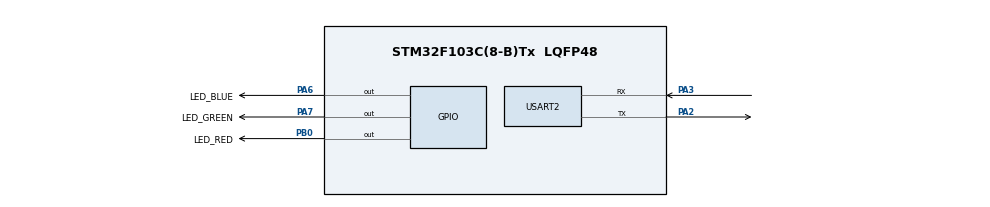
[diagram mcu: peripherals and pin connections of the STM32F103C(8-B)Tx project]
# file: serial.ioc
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Dma.Request0=USART2_TX
Dma.Request1=USART2_RX
Dma.USART2_RX.1.Direction=DMA_PERIPH_TO_MEMORY
Dma.USART2_RX.1.Instance=DMA1_Channel6
Dma.USART2_RX.1.MemDataAlignment=DMA_MDATAALIGN_BYTE
Dma.USART2_RX.1.MemInc=DMA_MINC_ENABLE
Dma.USART2_RX.1.Mode=DMA_NORMAL
Dma.USART2_RX.1.PeriphDataAlignment=DMA_PDATAALIGN_BYTE
Dma.USART2_RX.1.PeriphInc=DMA_PINC_DISABLE
Dma.USART2_RX.1.Priority=DMA_PRIORITY_LOW
Dma.USART2_TX.0.Direction=DMA_MEMORY_TO_PERIPH
Dma.USART2_TX.0.Instance=DMA1_Channel7
Dma.USART2_TX.0.MemDataAlignment=DMA_MDATAALIGN_BYTE
Dma.USART2_TX.0.MemInc=DMA_MINC_ENABLE
Dma.USART2_TX.0.Mode=DMA_NORMAL
Dma.USART2_TX.0.PeriphDataAlignment=DMA_PDATAALIGN_BYTE
Dma.USART2_TX.0.PeriphInc=DMA_PINC_DISABLE
Dma.USART2_TX.0.Priority=DMA_PRIORITY_LOW
Mcu.Family=STM32F1
Mcu.Name=STM32F103C(8-B)Tx
Mcu.Package=LQFP48
NVIC.DMA1_Channel6_IRQn=true\:0\:0\:false\:false\:true\:false\:true\:true
NVIC.DMA1_Channel7_IRQn=true\:0\:0\:false\:false\:true\:false\:true\:true
NVIC.PriorityGroup=NVIC_PRIORITYGROUP_4
NVIC.USART2_IRQn=true\:0\:0\:false\:false\:true\:true\:true\:true
PA13.Mode=Serial_Wire
PA13.Signal=SYS_JTMS-SWDIO
PA14.Mode=Serial_Wire
PA14.Signal=SYS_JTCK-SWCLK
PA2.Mode=Asynchronous
PA2.Signal=USART2_TX
PA3.Mode=Asynchronous
PA3.Signal=USART2_RX
PA6.GPIO_Label=LED_BLUE
PA6.Signal=GPIO_Output
PA7.GPIO_Label=LED_GREEN
PA7.Signal=GPIO_Output
PB0.GPIO_Label=LED_RED
PB0.Signal=GPIO_Output
ProjectManager.HeapSize=0x200
ProjectManager.StackSize=0x400
ProjectManager.TargetToolchain=STM32CubeIDE
RCC.APB1Freq_Value=8000000
RCC.APB2Freq_Value=8000000
USART2.VirtualMode=VM_ASYNC
board=custom

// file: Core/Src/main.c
/* USER CODE BEGIN Header */
/**
  ******************************************************************************
  * @file           : main.c
  * @brief          : Main program body
  ******************************************************************************
  * @attention
  *
  * Copyright (c) 2025 STMicroelectronics.
  * All rights reserved.
  *
  * This software is licensed under terms that can be found in the LICENSE file
  * in the root directory of this software component.
  * If no LICENSE file comes with this software, it is provided AS-IS.
  *
  ******************************************************************************
  */
/* USER CODE END Header */
#include "main.h"

/* USER CODE BEGIN Includes */
#include<string.h>
/* USER CODE END Includes */

UART_HandleTypeDef huart2;
DMA_HandleTypeDef hdma_usart2_tx;
DMA_HandleTypeDef hdma_usart2_rx;

/* USER CODE BEGIN PV */
uint8_t receiveData[2];
/* USER CODE END PV */

void SystemClock_Config(void);
static void MX_GPIO_Init(void);
static void MX_DMA_Init(void);
static void MX_USART2_UART_Init(void);

/* USER CODE BEGIN 0 */
void HAL_UART_TxCpltCallback(UART_HandleTypeDef *huart){
	HAL_UART_Transmit_DMA(&huart2, receiveData, 2);

  GPIO_PinState state = GPIO_PIN_SET ;
  if (receiveData[1]=='0'){
  state =GPIO_PIN_RESET;
  }
  if (receiveData[0]=='R'){
  HAL_GPIO_WritePin(LED_RED_GPIO_Port,LED_RED_Pin,state);
  }else if(receiveData[0]=='G'){
	 HAL_GPIO_WritePin(LED_GREEN_GPIO_Port,LED_GREEN_Pin,state);
  } else if(receiveData[0]=='B'){
   HAL_GPIO_WritePin(LED_BLUE_GPIO_Port,LED_BLUE_Pin,state);
  }
  HAL_UART_Receive_IT(&huart2, receiveData, 2);
}
/* USER CODE END 0 */

int main(void)
{

  /* MCU Configuration--------------------------------------------------------*/

  /* Reset of all peripherals, Initializes the Flash interface and the Systick. */
  HAL_Init();

  /* Configure the system clock */
  SystemClock_Config();

  /* Initialize all configured peripherals */
  MX_GPIO_Init();
  MX_DMA_Init();
  MX_USART2_UART_Init();
  /* USER CODE BEGIN 2 */

 HAL_UART_Receive_DMA(&huart2, receiveData, 2);
  /* USER CODE END 2 */

  /* Infinite loop */
  /* USER CODE BEGIN WHILE */
  while (1)
  {
//	    HAL_UART_Receive(&huart2, receiveData, 2, HAL_MAX_DELAY);

		//HAL_UART_Transmit(&huart2,receiveData, 2, 100);

//	  HAL_UART_Transmit(&huart2,message, strlen(message), 100);
//			  HAL_Delay(1000);
    /* USER CODE END WHILE */

  }
}

void SystemClock_Config(void)
{
  RCC_OscInitTypeDef RCC_OscInitStruct = {0};
  RCC_ClkInitTypeDef RCC_ClkInitStruct = {0};

  /** Initializes the RCC Oscillators according to the specified parameters
  * in the RCC_OscInitTypeDef structure.
  */
  RCC_OscInitStruct.OscillatorType = RCC_OSCILLATORTYPE_HSI;
  RCC_OscInitStruct.HSIState = RCC_HSI_ON;
  RCC_OscInitStruct.HSICalibrationValue = RCC_HSICALIBRATION_DEFAULT;
  RCC_OscInitStruct.PLL.PLLState = RCC_PLL_NONE;
  if (HAL_RCC_OscConfig(&RCC_OscInitStruct) != HAL_OK)
  {
    Error_Handler();
  }

  /** Initializes the CPU, AHB and APB buses clocks
  */
  RCC_ClkInitStruct.ClockType = RCC_CLOCKTYPE_HCLK|RCC_CLOCKTYPE_SYSCLK
                              |RCC_CLOCKTYPE_PCLK1|RCC_CLOCKTYPE_PCLK2;
  RCC_ClkInitStruct.SYSCLKSource = RCC_SYSCLKSOURCE_HSI;
  RCC_ClkInitStruct.AHBCLKDivider = RCC_SYSCLK_DIV1;
  RCC_ClkInitStruct.APB1CLKDivider = RCC_HCLK_DIV1;
  RCC_ClkInitStruct.APB2CLKDivider = RCC_HCLK_DIV1;

  if (HAL_RCC_ClockConfig(&RCC_ClkInitStruct, FLASH_LATENCY_0) != HAL_OK)
  {
    Error_Handler();
  }
}

static void MX_USART2_UART_Init(void)
{

  huart2.Instance = USART2;
  huart2.Init.BaudRate = 115200;
  huart2.Init.WordLength = UART_WORDLENGTH_8B;
  huart2.Init.StopBits = UART_STOPBITS_1;
  huart2.Init.Parity = UART_PARITY_NONE;
  huart2.Init.Mode = UART_MODE_TX_RX;
  huart2.Init.HwFlowCtl = UART_HWCONTROL_NONE;
  huart2.Init.OverSampling = UART_OVERSAMPLING_16;
  if (HAL_UART_Init(&huart2) != HAL_OK)
  {
    Error_Handler();
  }

}

static void MX_DMA_Init(void)
{

  /* DMA controller clock enable */
  __HAL_RCC_DMA1_CLK_ENABLE();

  /* DMA interrupt init */
  /* DMA1_Channel6_IRQn interrupt configuration */
  HAL_NVIC_SetPriority(DMA1_Channel6_IRQn, 0, 0);
  HAL_NVIC_EnableIRQ(DMA1_Channel6_IRQn);
  /* DMA1_Channel7_IRQn interrupt configuration */
  HAL_NVIC_SetPriority(DMA1_Channel7_IRQn, 0, 0);
  HAL_NVIC_EnableIRQ(DMA1_Channel7_IRQn);

}

static void MX_GPIO_Init(void)
{
  GPIO_InitTypeDef GPIO_InitStruct = {0};

  /* GPIO Ports Clock Enable */
  __HAL_RCC_GPIOA_CLK_ENABLE();
  __HAL_RCC_GPIOB_CLK_ENABLE();

  /*Configure GPIO pin Output Level */
  HAL_GPIO_WritePin(GPIOA, LED_BLUE_Pin|LED_GREEN_Pin, GPIO_PIN_RESET);

  /*Configure GPIO pin Output Level */
  HAL_GPIO_WritePin(LED_RED_GPIO_Port, LED_RED_Pin, GPIO_PIN_RESET);

  /*Configure GPIO pins : LED_BLUE_Pin LED_GREEN_Pin */
  GPIO_InitStruct.Pin = LED_BLUE_Pin|LED_GREEN_Pin;
  GPIO_InitStruct.Mode = GPIO_MODE_OUTPUT_PP;
  GPIO_InitStruct.Pull = GPIO_NOPULL;
  GPIO_InitStruct.Speed = GPIO_SPEED_FREQ_LOW;
  HAL_GPIO_Init(GPIOA, &GPIO_InitStruct);

  /*Configure GPIO pin : LED_RED_Pin */
  GPIO_InitStruct.Pin = LED_RED_Pin;
  GPIO_InitStruct.Mode = GPIO_MODE_OUTPUT_PP;
  GPIO_InitStruct.Pull = GPIO_NOPULL;
  GPIO_InitStruct.Speed = GPIO_SPEED_FREQ_LOW;
  HAL_GPIO_Init(LED_RED_GPIO_Port, &GPIO_InitStruct);

}

void Error_Handler(void)
{
  __disable_irq();
  while (1)
  {
  }
}
